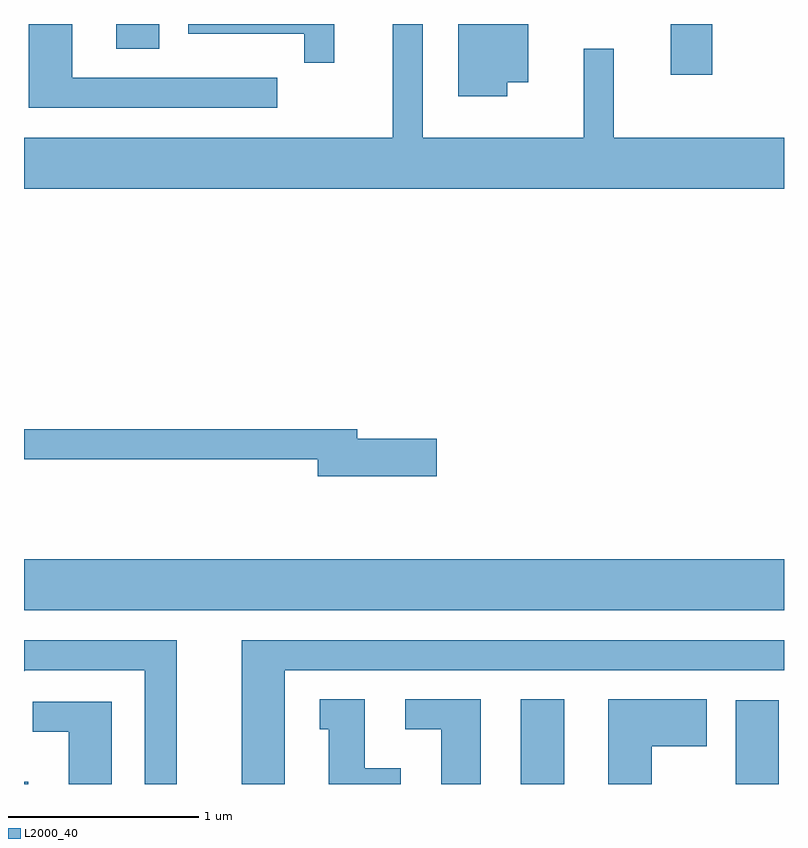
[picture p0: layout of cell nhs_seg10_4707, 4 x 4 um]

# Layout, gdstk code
import gdstk
lib = gdstk.Library(unit=1e-6, precision=1e-09)
def R(c, l, rs):  # rectangles x0, y0, x1, y1
    for r in rs: c.add(gdstk.rectangle(r[:2], r[2:], *l))
def P(c, l, *ps):  # polygons
    for p in ps: c.add(gdstk.Polygon(p, *l))
L2000_40 = (2000, 40)

nhs_seg10_4707 = lib.new_cell('nhs_seg10_4707')
R(nhs_seg10_4707, L2000_40, [(323.611,2148.522,323.634,2148.533), (326.226,2148.522,326.454,2148.969), (327.356,2148.522,327.584,2148.964), (323.611,2149.436,327.611,2149.704), (327.016,2152.256,327.234,2152.522), (324.096,2152.391,324.324,2152.522)])
P(nhs_seg10_4707, L2000_40, [(327.611,2151.924),(326.714,2151.924),(326.714,2152.393),(326.556,2152.393),(326.556,2151.924),(325.709,2151.924),(325.709,2152.522),(325.551,2152.522),(325.551,2151.924),(323.611,2151.924),(323.611,2151.656),(327.611,2151.656)],
  [(326.154,2152.216),(326.264,2152.216),(326.264,2152.522),(325.896,2152.522),(325.896,2152.141),(326.154,2152.141)],
  [(325.244,2152.522),(324.476,2152.522),(324.476,2152.471),(325.086,2152.471),(325.086,2152.318),(325.244,2152.318)],
  [(324.943,2152.239),(323.864,2152.239),(323.864,2152.522),(323.636,2152.522),(323.636,2152.081),(324.943,2152.081)],
  [(325.784,2150.339),(325.364,2150.339),(325.364,2150.389),(323.611,2150.389),(323.611,2150.231),(325.156,2150.231),(325.156,2150.141),(325.784,2150.141)],
  [(324.984,2149.121),(327.611,2149.121),(327.611,2149.279),(324.756,2149.279),(324.756,2148.522),(324.984,2148.522)],
  [(324.414,2149.279),(323.611,2149.279),(323.611,2149.115),(323.617,2149.121),(324.246,2149.121),(324.246,2148.522),(324.414,2148.522)],
  [(326.014,2148.969),(325.618,2148.969),(325.618,2148.811),(325.806,2148.811),(325.806,2148.522),(326.014,2148.522)],
  [(325.594,2148.604),(325.404,2148.604),(325.404,2148.969),(325.168,2148.969),(325.168,2148.811),(325.216,2148.811),(325.216,2148.522),(325.594,2148.522)],
  [(326.914,2148.721),(327.204,2148.721),(327.204,2148.969),(326.686,2148.969),(326.686,2148.522),(326.914,2148.522)],
  [(324.074,2148.954),(323.658,2148.954),(323.658,2148.796),(323.846,2148.796),(323.846,2148.522),(324.074,2148.522)])

lib.write_gds('nhs_seg10_4707.gds')
